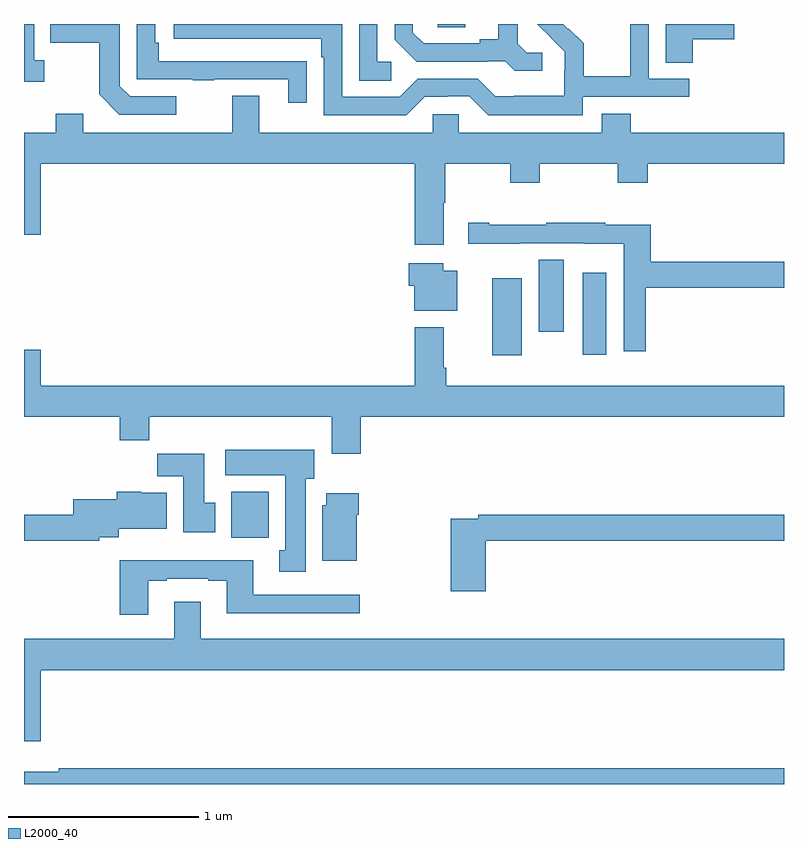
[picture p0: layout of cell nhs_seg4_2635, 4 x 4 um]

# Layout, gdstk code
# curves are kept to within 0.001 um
import gdstk
lib = gdstk.Library(unit=1e-6, precision=1e-09)
def R(c, l, rs):  # rectangles x0, y0, x1, y1
    for r in rs: c.add(gdstk.rectangle(r[:2], r[2:], *l))
def P(c, l, *ps):  # polygons
    for p in ps: c.add(gdstk.Polygon(p, *l))
L2000_40 = (2000, 40)

nhs_seg4_2635 = lib.new_cell('nhs_seg4_2635')
R(nhs_seg4_2635, L2000_40, [(250.091,784.196,250.288,784.438), (251.465,785.157,251.62,785.563), (251.942,785.16,252.064,785.59), (251.708,785.28,251.842,785.66), (251.178,786.883,251.323,786.9)])
P(nhs_seg4_2635, L2000_40, [(251.94,786.516),(252.502,786.516),(252.502,786.612),(252.288,786.612),(252.288,786.9),(252.192,786.9),(252.192,786.848),(252.19,786.848),(252.19,786.625),(251.945,786.625),(251.945,786.799),(251.868,786.876),(251.865,786.873),(251.838,786.9),(251.702,786.9),(251.846,786.754),(251.846,786.657),(251.844,786.657),(251.844,786.523),(251.581,786.523),(251.581,786.519),(251.481,786.519),(251.388,786.612),(251.073,786.612),(250.977,786.516),(250.674,786.516),(250.674,786.9),(249.789,786.9),(249.789,786.822),(250.565,786.822),(250.565,786.725),(250.578,786.725),(250.578,786.42),(251.013,786.42),(251.109,786.516),(251.228,786.516),(251.228,786.519),(251.343,786.519),(251.443,786.419),(251.94,786.419)],
  [(249.802,786.519),(249.558,786.519),(249.504,786.573),(249.504,786.9),(249.139,786.9),(249.139,786.802),(249.396,786.802),(249.396,786.529),(249.501,786.423),(249.802,786.423)],
  [(251.728,786.75),(251.646,786.75),(251.599,786.797),(251.599,786.9),(251.495,786.9),(251.495,786.821),(251.399,786.821),(251.399,786.798),(251.104,786.798),(251.047,786.855),(251.047,786.9),(250.95,786.9),(250.95,786.818),(251.066,786.702),(251.438,786.702),(251.438,786.705),(251.532,786.705),(251.584,786.653),(251.728,786.653)],
  [(250.933,786.702),(250.86,786.702),(250.86,786.9),(250.764,786.9),(250.764,786.601),(250.933,786.601)],
  [(252.521,786.821),(252.739,786.821),(252.739,786.9),(252.377,786.9),(252.377,786.697),(252.521,786.697)],
  [(249.106,786.71),(249.054,786.71),(249.054,786.9),(249,786.9),(249,786.597),(249.106,786.597)],
  [(250.487,786.704),(250.385,786.704),(250.385,786.705),(249.71,786.705),(249.71,786.802),(249.69,786.802),(249.69,786.9),(249.594,786.9),(249.594,786.609),(249.889,786.609),(249.889,786.604),(250.001,786.604),(250.001,786.609),(250.391,786.609),(250.391,786.486),(250.487,786.486)],
  [(251.209,785.96),(251.217,785.96),(251.217,786.164),(251.56,786.164),(251.56,786.065),(251.715,786.065),(251.715,786.164),(252.124,786.164),(252.124,786.065),(252.284,786.065),(252.284,786.164),(253,786.164),(253,786.328),(252.194,786.328),(252.194,786.427),(252.041,786.427),(252.041,786.328),(251.289,786.328),(251.289,786.426),(251.151,786.426),(251.151,786.328),(250.237,786.328),(250.237,786.523),(250.097,786.523),(250.097,786.328),(249.313,786.328),(249.313,786.427),(249.166,786.427),(249.166,786.328),(249,786.328),(249,785.79),(249.088,785.79),(249.088,786.164),(251.057,786.164),(251.057,785.739),(251.209,785.739)],
  [(252.272,785.512),(253,785.512),(253,785.648),(252.299,785.648),(252.299,785.844),(252.059,785.844),(252.059,785.854),(251.749,785.854),(251.749,785.844),(251.449,785.844),(251.449,785.854),(251.337,785.854),(251.337,785.744),(251.612,785.744),(251.612,785.745),(251.946,785.745),(251.946,785.744),(252.156,785.744),(252.156,785.178),(252.272,785.178)],
  [(251.281,785.602),(251.207,785.602),(251.207,785.641),(251.024,785.641),(251.024,785.523),(251.054,785.523),(251.054,785.39),(251.281,785.39)],
  [(250.772,784.832),(253,784.832),(253,784.996),(251.222,784.996),(251.222,785.092),(251.209,785.092),(251.209,785.305),(251.057,785.305),(251.057,784.996),(249.088,784.996),(249.088,785.185),(249,785.185),(249,784.832),(249.503,784.832),(249.503,784.708),(249.659,784.708),(249.659,784.832),(250.619,784.832),(250.619,784.638),(250.772,784.638)],
  [(250.483,784.506),(250.528,784.506),(250.528,784.66),(250.059,784.66),(250.059,784.526),(250.376,784.526),(250.376,784.13),(250.343,784.13),(250.343,784.017),(250.483,784.017)],
  [(250.006,784.38),(249.949,784.38),(249.949,784.639),(249.7,784.639),(249.7,784.52),(249.839,784.52),(249.839,784.224),(250.006,784.224)],
  [(249.395,784.199),(249.499,784.199),(249.499,784.244),(249.751,784.244),(249.751,784.432),(249.618,784.432),(249.618,784.438),(249.488,784.438),(249.488,784.399),(249.26,784.399),(249.26,784.316),(249,784.316),(249,784.18),(249.395,784.18)],
  [(250.75,784.316),(250.763,784.316),(250.763,784.429),(250.592,784.429),(250.592,784.368),(250.571,784.368),(250.571,784.076),(250.75,784.076)],
  [(251.429,784.18),(253,784.18),(253,784.316),(251.392,784.316),(251.392,784.296),(251.246,784.296),(251.246,783.915),(251.429,783.915)],
  [(249.655,783.969),(249.751,783.969),(249.751,783.981),(249.971,783.981),(249.971,783.969),(250.067,783.969),(250.067,783.8),(250.768,783.8),(250.768,783.897),(250.207,783.897),(250.207,784.078),(249.503,784.078),(249.503,783.792),(249.655,783.792)],
  [(249.088,783.5),(253,783.5),(253,783.664),(249.931,783.664),(249.931,783.859),(249.791,783.859),(249.791,783.664),(249,783.664),(249,783.126),(249.088,783.126)],
  [(253,782.984),(249.184,782.984),(249.184,782.965),(249,782.965),(249,782.9),(253,782.9)])

lib.write_gds('nhs_seg4_2635.gds')
